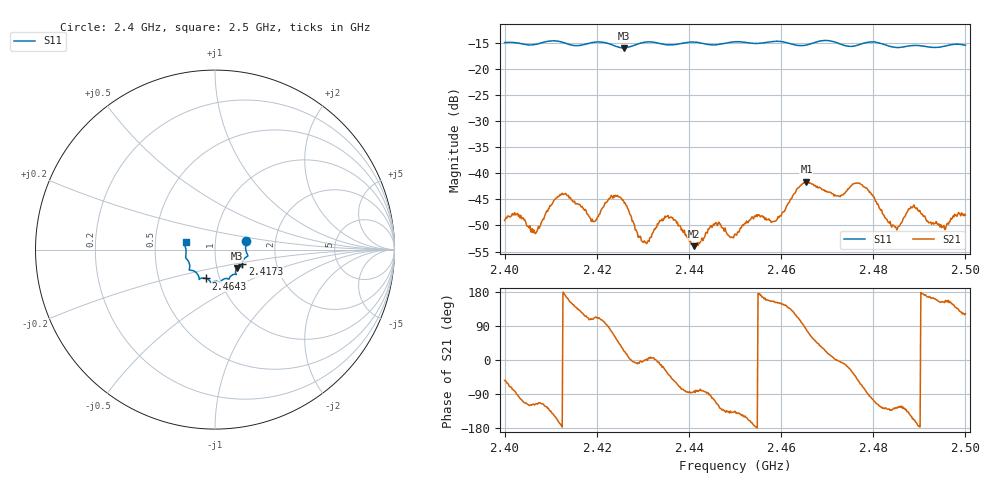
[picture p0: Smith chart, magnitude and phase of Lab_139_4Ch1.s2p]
# Hz S RI R 50
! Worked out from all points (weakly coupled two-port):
!   601 points, 2.4 GHz to 2.5 GHz, reference 50 ohm
!   highest |S21| = -41.62 dB at 2.4655 GHz (marker M1); lowest = -54.0 dB at 2.441 GHz (marker M2)
!   lowest |S11| = -15.9 dB at 2.4258 GHz (marker M3), VSWR 1.38, Z = 62.3 - j13.3 ohm
!   |S11| at or under -10 dB: start of sweep to end of sweep
!   S12 and S22 are empty: the file has one direction only
!   S11 on the Smith chart (normalised r, x): 2.4 GHz: 1.41, +0.14; 2.4173 GHz: 1.34, -0.22; 2.4643 GHz: 0.86, -0.28; 2.5 GHz: 0.72, +0.06
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2.4e9  0.173 0.0485  0.00208 -0.00286  0 0  0 0
2.406667e9  0.1723 -0.00636  -0.00118 -0.00236  0 0  0 0
2.412e9  0.1801 -0.0377  -0.00611 -0.0013  0 0  0 0
2.416667e9  0.1527 -0.0743  -0.00279 0.00386  0 0  0 0
2.417333e9  0.1518 -0.0817  -0.00198 0.00394  0 0  0 0
2.419333e9  0.1534 -0.0961  -0.00115 0.00326  0 0  0 0
2.425833e9  0.1218 -0.1036  0.00492 0.00224  0 0  0 0
2.430167e9  0.1177 -0.1371  0.00217 -0.000108  0 0  0 0
2.433333e9  0.1127 -0.1373  0.00324 -0.00038  0 0  0 0
2.4365e9  0.0903 -0.1453  0.00231 -0.00294  0 0  0 0
2.441e9  0.0776 -0.1647  0.000229 -0.00199  0 0  0 0
2.446167e9  0.0466 -0.1655  -0.0014 -0.00282  0 0  0 0
2.45e9  0.0287 -0.1808  -0.00186 -0.00185  0 0  0 0
2.458667e9  -0.0215 -0.1836  -0.00305 0.00165  0 0  0 0
2.464333e9  -0.0498 -0.1606  -0.00135 0.0076  0 0  0 0
2.4655e9  -0.0634 -0.1582  0.00143 0.00817  0 0  0 0
2.466667e9  -0.0758 -0.1594  0.00394 0.00682  0 0  0 0
2.477167e9  -0.1283 -0.1159  0.00362 -0.00705  0 0  0 0
2.483333e9  -0.1405 -0.0898  -0.00216 -0.00262  0 0  0 0
2.488667e9  -0.1621 -0.0473  -0.00436 -0.00205  0 0  0 0
2.495333e9  -0.1649 0.0134  -0.00279 0.00148  0 0  0 0
2.5e9  -0.1639 0.0431  -0.00211 0.00338  0 0  0 0
